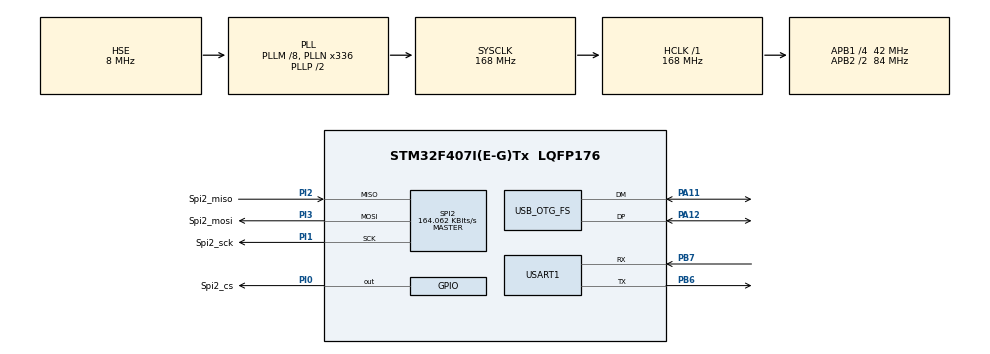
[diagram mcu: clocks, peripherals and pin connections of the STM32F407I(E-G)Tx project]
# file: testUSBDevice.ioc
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FREERTOS.Tasks01=defaultTask,0,4096,StartDefaultTask,Default,NULL,Dynamic,NULL,NULL
FREERTOS.configTOTAL_HEAP_SIZE=40960
Mcu.Family=STM32F4
Mcu.Name=STM32F407I(E-G)Tx
Mcu.Package=LQFP176
NVIC.PriorityGroup=NVIC_PRIORITYGROUP_4
NVIC.TIM1_UP_TIM10_IRQn=true\:0\:0\:false\:false\:true\:false\:false\:true
NVIC.TimeBase=TIM1_UP_TIM10_IRQn
NVIC.TimeBaseIP=TIM1
PA11.Mode=Device_Only
PA11.Signal=USB_OTG_FS_DM
PA12.Mode=Device_Only
PA12.Signal=USB_OTG_FS_DP
PA13.Mode=Serial_Wire
PA13.Signal=SYS_JTMS-SWDIO
PA14.Mode=Serial_Wire
PA14.Signal=SYS_JTCK-SWCLK
PB6.Mode=Asynchronous
PB6.Signal=USART1_TX
PB7.Mode=Asynchronous
PB7.Signal=USART1_RX
PH0-OSC_IN.Mode=HSE-External-Oscillator
PH0-OSC_IN.Signal=RCC_OSC_IN
PH1-OSC_OUT.Mode=HSE-External-Oscillator
PH1-OSC_OUT.Signal=RCC_OSC_OUT
PI0.GPIO_Label=Spi2_cs
PI0.GPIO_PuPd=GPIO_PULLUP
PI0.GPIO_Speed=GPIO_SPEED_FREQ_HIGH
PI0.PinState=GPIO_PIN_SET
PI0.Signal=GPIO_Output
PI1.GPIO_Label=Spi2_sck
PI1.GPIO_PuPd=GPIO_PULLUP
PI1.Mode=Full_Duplex_Master
PI1.Signal=SPI2_SCK
PI2.GPIO_Label=Spi2_miso
PI2.GPIO_PuPd=GPIO_PULLUP
PI2.Mode=Full_Duplex_Master
PI2.Signal=SPI2_MISO
PI3.GPIO_Label=Spi2_mosi
PI3.GPIO_PuPd=GPIO_PULLUP
PI3.Mode=Full_Duplex_Master
PI3.Signal=SPI2_MOSI
ProjectManager.HeapSize=0x1000
ProjectManager.StackSize=0x1600
ProjectManager.TargetToolchain=MDK-ARM V5
RCC.48MHZClocksFreq_Value=48000000
RCC.AHBFreq_Value=168000000
RCC.APB1CLKDivider=RCC_HCLK_DIV4
RCC.APB1Freq_Value=42000000
RCC.APB1TimFreq_Value=84000000
RCC.APB2CLKDivider=RCC_HCLK_DIV2
RCC.APB2Freq_Value=84000000
RCC.APB2TimFreq_Value=168000000
RCC.CortexFreq_Value=168000000
RCC.HCLKFreq_Value=168000000
RCC.HSE_VALUE=8000000
RCC.HSI_VALUE=16000000
RCC.LSE_VALUE=32768
RCC.PLLM=8
RCC.PLLN=336
RCC.PLLQ=7
RCC.SYSCLKFreq_VALUE=168000000
RCC.SYSCLKSource=RCC_SYSCLKSOURCE_PLLCLK
RCC.VCOOutputFreq_Value=336000000
SPI2.BaudRatePrescaler=SPI_BAUDRATEPRESCALER_256
SPI2.CLKPhase=SPI_PHASE_2EDGE
SPI2.CLKPolarity=SPI_POLARITY_HIGH
SPI2.CalculateBaudRate=164.062 KBits/s
SPI2.Direction=SPI_DIRECTION_2LINES
SPI2.Mode=SPI_MODE_MASTER
SPI2.VirtualType=VM_MASTER
USART1.VirtualMode=VM_ASYNC
USB_OTG_FS.VirtualMode=Device_Only
VP_FREERTOS_VS_CMSIS_V1.Mode=CMSIS_V1
VP_SYS_VS_tim1.Mode=TIM1
board=custom

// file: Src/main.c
/* USER CODE BEGIN Header */
/**
  ******************************************************************************
  * @file           : main.c
  * @brief          : Main program body
  ******************************************************************************
  * @attention
  *
  * <h2><center>&copy; Copyright (c) 2024 STMicroelectronics.
  * All rights reserved.</center></h2>
  *
  * This software component is licensed by ST under Ultimate Liberty license
  * SLA0044, the "License"; You may not use this file except in compliance with
  * the License. You may obtain a copy of the License at:
  *                             www.st.com/SLA0044
  *
  ******************************************************************************
  */
/* USER CODE END Header */

#include "main.h"
#include "cmsis_os.h"
#include "spi.h"
#include "usart.h"
#include "usb_otg.h"
#include "gpio.h"

/* USER CODE BEGIN Includes */
#include "delay.h"
#include "norflash.h"

//usb otg
#include "usb_otg.h"
#include "usbd_core.h"  //USBD_Init USBD_RegisterClass USBD_MSC_RegisterStorage USBD_Start
#include "usbd_desc.h"  //MSC_Desc (FS_Desc)
#include "usbd_msc.h"  //USBD_MSC
#include "usbd_storage.h"  //USBD_DISK_fops  (USBD_Storage_Interface_fops_FS)
/* USER CODE END Includes */

/* USER CODE BEGIN PV */
extern uint16_t id;  //norflash id
//usb otg
extern USBD_HandleTypeDef USBD_Device;             /* USB Device处理结构体 */
/* USER CODE END PV */

void SystemClock_Config(void);
void MX_FREERTOS_Init(void);

int main(void)
{

  /* MCU Configuration--------------------------------------------------------*/

  /* Reset of all peripherals, Initializes the Flash interface and the Systick. */
  HAL_Init();

  /* Configure the system clock */
  SystemClock_Config();

  /* Initialize all configured peripherals */
  MX_GPIO_Init();
  MX_USART1_UART_Init();
  MX_USB_OTG_FS_PCD_Init();
  MX_SPI2_Init();
  /* USER CODE BEGIN 2 */
	/*
		//USB Device
	if ((id == 0) || (id == 0xFFFF))
	{
			printf("NorFlash Error!\n");          // 检测NorFlash错误
	}
	else   // SPI FLASH 正常
	{
			printf("norflash id is %d\n", id);
			printf("SPI FLASH Size:12MB\n");
	}
	printf("USB Connecting...\n");            // 提示正在建立连接

	USBD_Init(&USBD_Device, &FS_Desc, DEVICE_FS);       // 初始化USB
	USBD_RegisterClass(&USBD_Device, &USBD_MSC);        // 添加类
	USBD_MSC_RegisterStorage(&USBD_Device, &USBD_DISK_fops);    // 为MSC类添加回调函数
	USBD_Start(&USBD_Device);
	*/

  /* USER CODE END 2 */

  /* Call init function for freertos objects (in freertos.c) */
  MX_FREERTOS_Init();

  /* Start scheduler */
  osKernelStart();

  /* We should never get here as control is now taken by the scheduler */

  /* Infinite loop */
  while (1)
  {

  }
}

void SystemClock_Config(void)
{
  RCC_OscInitTypeDef RCC_OscInitStruct = {0};
  RCC_ClkInitTypeDef RCC_ClkInitStruct = {0};

  /** Configure the main internal regulator output voltage
  */
  __HAL_RCC_PWR_CLK_ENABLE();
  __HAL_PWR_VOLTAGESCALING_CONFIG(PWR_REGULATOR_VOLTAGE_SCALE1);
  /** Initializes the CPU, AHB and APB busses clocks
  */
  RCC_OscInitStruct.OscillatorType = RCC_OSCILLATORTYPE_HSE;
  RCC_OscInitStruct.HSEState = RCC_HSE_ON;
  RCC_OscInitStruct.PLL.PLLState = RCC_PLL_ON;
  RCC_OscInitStruct.PLL.PLLSource = RCC_PLLSOURCE_HSE;
  RCC_OscInitStruct.PLL.PLLM = 8;
  RCC_OscInitStruct.PLL.PLLN = 336;
  RCC_OscInitStruct.PLL.PLLP = RCC_PLLP_DIV2;
  RCC_OscInitStruct.PLL.PLLQ = 7;
  if (HAL_RCC_OscConfig(&RCC_OscInitStruct) != HAL_OK)
  {
    Error_Handler();
  }
  /** Initializes the CPU, AHB and APB busses clocks
  */
  RCC_ClkInitStruct.ClockType = RCC_CLOCKTYPE_HCLK|RCC_CLOCKTYPE_SYSCLK
                              |RCC_CLOCKTYPE_PCLK1|RCC_CLOCKTYPE_PCLK2;
  RCC_ClkInitStruct.SYSCLKSource = RCC_SYSCLKSOURCE_PLLCLK;
  RCC_ClkInitStruct.AHBCLKDivider = RCC_SYSCLK_DIV1;
  RCC_ClkInitStruct.APB1CLKDivider = RCC_HCLK_DIV4;
  RCC_ClkInitStruct.APB2CLKDivider = RCC_HCLK_DIV2;

  if (HAL_RCC_ClockConfig(&RCC_ClkInitStruct, FLASH_LATENCY_5) != HAL_OK)
  {
    Error_Handler();
  }
}

void HAL_TIM_PeriodElapsedCallback(TIM_HandleTypeDef *htim)
{
  if (htim->Instance == TIM1) {
    HAL_IncTick();
  }
}

void Error_Handler(void)
{
}

/************************ (C) COPYRIGHT STMicroelectronics *****END OF FILE****/

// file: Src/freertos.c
/* USER CODE BEGIN Header */
/**
  ******************************************************************************
  * File Name          : freertos.c
  * Description        : Code for freertos applications
  ******************************************************************************
  * @attention
  *
  * <h2><center>&copy; Copyright (c) 2024 STMicroelectronics.
  * All rights reserved.</center></h2>
  *
  * This software component is licensed by ST under Ultimate Liberty license
  * SLA0044, the "License"; You may not use this file except in compliance with
  * the License. You may obtain a copy of the License at:
  *                             www.st.com/SLA0044
  *
  ******************************************************************************
  */
/* USER CODE END Header */

#include "FreeRTOS.h"
#include "task.h"
#include "main.h"
#include "cmsis_os.h"

/* USER CODE BEGIN Includes */
#include "usart.h"
#include "delay.h"
#include "norflash.h"

//usb otg
#include "usb_otg.h"
#include "usbd_core.h"  //USBD_Init USBD_RegisterClass USBD_MSC_RegisterStorage USBD_Start
#include "usbd_desc.h"  //MSC_Desc (FS_Desc)
#include "usbd_msc.h"  //USBD_MSC
#include "usbd_storage.h"  //USBD_DISK_fops  (USBD_Storage_Interface_fops_FS)
/* USER CODE END Includes */

/* USER CODE BEGIN Variables */
uint16_t id;  //norflash id
//usb otg
USBD_HandleTypeDef USBD_Device;             /* USB Device处理结构体 */
/* USER CODE END Variables */
osThreadId defaultTaskHandle;

void StartDefaultTask(void const * argument);

void MX_FREERTOS_Init(void); /* (MISRA C 2004 rule 8.1) */

/* GetIdleTaskMemory prototype (linked to static allocation support) */
void vApplicationGetIdleTaskMemory( StaticTask_t **ppxIdleTaskTCBBuffer, StackType_t **ppxIdleTaskStackBuffer, uint32_t *pulIdleTaskStackSize );

/* USER CODE BEGIN GET_IDLE_TASK_MEMORY */
static StaticTask_t xIdleTaskTCBBuffer;
static StackType_t xIdleStack[configMINIMAL_STACK_SIZE];

void vApplicationGetIdleTaskMemory( StaticTask_t **ppxIdleTaskTCBBuffer, StackType_t **ppxIdleTaskStackBuffer, uint32_t *pulIdleTaskStackSize )
{
  *ppxIdleTaskTCBBuffer = &xIdleTaskTCBBuffer;
  *ppxIdleTaskStackBuffer = &xIdleStack[0];
  *pulIdleTaskStackSize = configMINIMAL_STACK_SIZE;
  /* place for user code */
}
/* USER CODE END GET_IDLE_TASK_MEMORY */

void MX_FREERTOS_Init(void) {

  /* Create the thread(s) */
  /* definition and creation of defaultTask */
  osThreadDef(defaultTask, StartDefaultTask, osPriorityNormal, 0, 4096);
  defaultTaskHandle = osThreadCreate(osThread(defaultTask), NULL);

}

void StartDefaultTask(void const * argument)
{

  /* USER CODE BEGIN StartDefaultTask */
	//SPI Flash
	norflash_init();  //初始化norflash
	uint16_t id = norflash_read_id();
	printf("norflash id is %d\n", id);
  	/* 开启USB */
	//USB Device
	if ((id == 0) || (id == 0xFFFF))
	{
			printf("NorFlash Error!\n");          // 检测NorFlash错误
	}
	else   // SPI FLASH 正常
	{
			printf("norflash id is %d\n", id);
			printf("SPI FLASH Size:12MB\n");
	}
	printf("USB Connecting...\n");            // 提示正在建立连接

	USBD_Init(&USBD_Device, &FS_Desc, DEVICE_FS);       // 初始化USB
	USBD_RegisterClass(&USBD_Device, &USBD_MSC);        // 添加类
	USBD_MSC_RegisterStorage(&USBD_Device, &USBD_DISK_fops);    // 为MSC类添加回调函数
	USBD_Start(&USBD_Device);

  /* Infinite loop */
  for(;;)
  {
    osDelay(1);
  }
  /* USER CODE END StartDefaultTask */
}

/************************ (C) COPYRIGHT STMicroelectronics *****END OF FILE****/
